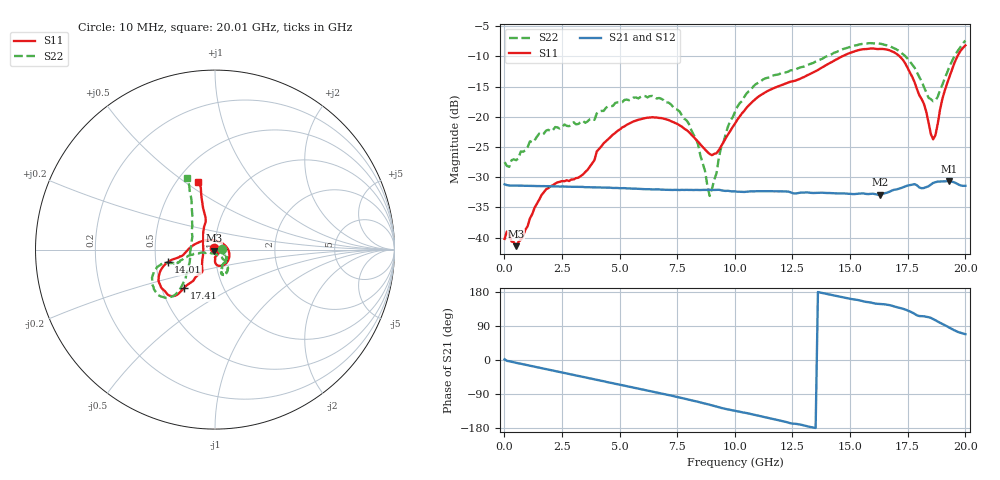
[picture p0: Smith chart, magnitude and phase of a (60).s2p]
! Hittite Microwave Corporation
! 2 Elizabeth Drive
! Chelmsford, MA 01824
! http://www.hittite.com
! Tel: 978-250-3343
! Fax: 978-250-3373
! Device:  HMC424LP3
! Description: 0.5 dB GaAs MMIC 6-Bit Digital Attenuator
! Frequency:  DC -  13.00 GHz
! Package:  LP3  - 3x3 mm Quad Flatpack No-Lead (QFN) Plastic Package: 16 pin
! Ports:  2 RF, 7 DC
!  Pad  1  = Ground
!  Pad  2  = RF IN  =  Port 1
!  Pad  3  = Ground
!  Pad  4  = V6
!  Pad  5  = V5
!  Pad  6  = V4
!  Pad  7  = V3
!  Pad  8  = V2
!  Pad  9  = V1
!  Pad 10  = Ground
!  Pad 11  = RF OUT  = Port 2
!  Pad 12  = Ground
!  Pad 15  = VEE
! Control:  -5 Volt control voltage
! State:  58
! Attenuation:  29.0 dB
! Voltages:  Vdd = -5.00 Volts  Idd =  -2.514 mA
!  V1  = 0.00 Volts  I1  =  30.0 uA
!  V2  = -5.00 Volts  I2  =  -1.0 uA
!  V3  = 0.00 Volts  I3  =  29.0 uA
!  V4  = -5.00 Volts  I4  =  -1.0 uA
!  V5  = -5.00 Volts  I5  =  -1.0 uA
!  V6  = -5.00 Volts  I6  =  -1.0 uA
! Data:  The device was measured on evaluation board 105354-1.
!  Data was collected using a calibrated network analyzer.
!  The evaluation circuit board was modeled and simulated.  This was use
!  to removed the evaluation board circuit from the measured data.
!  The reference plane is the edge of the package pin.
! Misc:  Lot xxxx, Unit 1
!  Application 20120001, Data collected in Application 20090083
! Date Measured:  2009-09-15
! Date:  2012-05-14  MJV
! Note:
!  Hittite supplies this data as a sample of measured data at the package pin
!  for this product.  Your particular data for this product may vary.
!  Data was taken at 25 degrees C.
!  Hittite reserves the right to change this data at anytime.
# GHz S MA R 50
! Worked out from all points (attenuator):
!   201 points, 10 MHz to 20.01 GHz, reference 50 ohm
!   highest |S21| = -30.65 dB at 19.31 GHz (marker M1); lowest = -32.9 dB at 16.31 GHz (marker M2)
!   lowest |S11| = -41.4 dB at 510 MHz (marker M3), VSWR 1.02, Z = 49.3 - j0.535 ohm
!   |S11| at or under -10 dB: start of sweep to 14.67 GHz; 17.15 GHz to 19.67 GHz (2.516 GHz wide, 13.7 % of centre)
!   |S22| runs from -33.1 to -7.4 dB; largest |S21 - S12| = 0.0025
!   S11 on the Smith chart (normalised r, x): 10 MHz: 0.98, +0.01; 14.01 GHz: 0.58, -0.09; 17.41 GHz: 0.65, -0.30; 20.01 GHz: 0.63, +0.56
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0.01  0.009774 140.5  0.02764 1.7  0.02772 -3.3  0.04217 7.8
0.11  0.01125 -176.6  0.0272 -2.3  0.02701 -2.1  0.03917 0.9
0.51  0.008506 -140.4  0.02696 -7.5  0.02692 -7.3  0.04374 -13.1
1.81  0.02513 -47.7  0.02665 -24.1  0.02662 -24.0  0.0768 -32.5
3.41  0.03328 -73.9  0.02629 -44.6  0.02614 -44.6  0.09254 -54.2
4.91  0.07638 -88.0  0.02577 -63.8  0.02563 -63.9  0.1314 -73.5
6.71  0.09777 -50.7  0.0251 -86.8  0.02492 -86.9  0.1429 -63.4
8.01  0.07474 -1.9  0.02481 -104.7  0.0248 -104.7  0.08725 -48.0
8.41  0.06206 19.6  0.0248 -110.4  0.0247 -110.5  0.05862 -48.1
8.91  0.04919 60.4  0.02488 -118.1  0.02486 -118.2  0.02212 -101.5
9.41  0.0571 110.9  0.02469 -126.4  0.0247 -126.4  0.05574 -159.8
10.01  0.08785 148.2  0.0242 -134.5  0.02411 -134.3  0.1097 -168.8
11.21  0.1544 -178.2  0.02418 -149.5  0.02412 -149.6  0.2022 -162.6
13.41  0.2325 -167.3  0.02341 -178.2  0.02331 -178.2  0.2785 -164.7
14.01  0.2702 -165.4  0.0234 173.9  0.0234 173.9  0.3167 -164.3
16.31  0.3635 -138.1  0.02263 148.1  0.02255 148.0  0.402 -140.1
16.71  0.355 -133.1  0.02397 144.9  0.02391 144.9  0.384 -135.6
17.41  0.2736 -128.9  0.0266 133.0  0.02656 133.0  0.3161 -131.2
18.21  0.1278 -124.1  0.02575 115.4  0.02571 115.4  0.1764 -147.3
18.61  0.06511 -178.5  0.02836 108.1  0.02829 108.3  0.1344 175.0
19.31  0.2118 106.2  0.02934 85.5  0.02922 85.7  0.2584 119.9
20.01  0.389 103.9  0.02683 68.1  0.02665 68.1  0.4274 111.5
